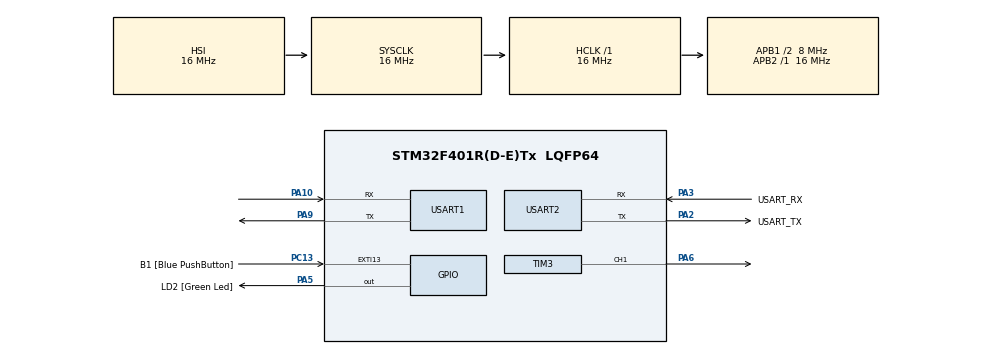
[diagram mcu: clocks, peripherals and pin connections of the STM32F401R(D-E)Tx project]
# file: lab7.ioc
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Mcu.Family=STM32F4
Mcu.Name=STM32F401R(D-E)Tx
Mcu.Package=LQFP64
NVIC.PriorityGroup=NVIC_PRIORITYGROUP_0
NVIC.TIM3_IRQn=true\:0\:0\:false\:false\:true\:true
NVIC.USART1_IRQn=true\:0\:0\:false\:false\:true\:true
NVIC.USART2_IRQn=true\:0\:0\:false\:false\:true\:true
PA10.Mode=Asynchronous
PA10.Signal=USART1_RX
PA13.GPIO_Label=TMS
PA13.Mode=Serial_Wire
PA13.Signal=SYS_JTMS-SWDIO
PA14.GPIO_Label=TCK
PA14.Mode=Serial_Wire
PA14.Signal=SYS_JTCK-SWCLK
PA2.GPIO_Label=USART_TX
PA2.GPIO_Mode=GPIO_MODE_AF_PP
PA2.GPIO_PuPd=GPIO_NOPULL
PA2.GPIO_Speed=GPIO_SPEED_FREQ_LOW
PA2.Mode=Asynchronous
PA2.Signal=USART2_TX
PA3.GPIO_Label=USART_RX
PA3.GPIO_Mode=GPIO_MODE_AF_PP
PA3.GPIO_PuPd=GPIO_NOPULL
PA3.GPIO_Speed=GPIO_SPEED_FREQ_LOW
PA3.Mode=Asynchronous
PA3.Signal=USART2_RX
PA5.GPIO_Label=LD2 [Green Led]
PA5.GPIO_Mode=GPIO_MODE_OUTPUT_PP
PA5.GPIO_PuPd=GPIO_NOPULL
PA5.GPIO_Speed=GPIO_SPEED_FREQ_LOW
PA5.Signal=GPIO_Output
PA6.Signal=S_TIM3_CH1
PA9.Mode=Asynchronous
PA9.Signal=USART1_TX
PB3.GPIO_Label=SWO
PB3.Signal=SYS_JTDO-SWO
PC13-ANTI_TAMP.GPIO_Label=B1 [Blue PushButton]
PC13-ANTI_TAMP.GPIO_ModeDefaultEXTI=GPIO_MODE_IT_FALLING
PC13-ANTI_TAMP.GPIO_PuPd=GPIO_NOPULL
PC13-ANTI_TAMP.Signal=GPXTI13
PC14-OSC32_IN.Mode=LSE-External-Oscillator
PC14-OSC32_IN.Signal=RCC_OSC32_IN
PC15-OSC32_OUT.Mode=LSE-External-Oscillator
PC15-OSC32_OUT.Signal=RCC_OSC32_OUT
PH0\ -\ OSC_IN.Mode=HSE-External-Clock-Source
PH0\ -\ OSC_IN.Signal=RCC_OSC_IN
PH1\ -\ OSC_OUT.Mode=HSE-External-Clock-Source
PH1\ -\ OSC_OUT.Signal=RCC_OSC_OUT
ProjectManager.HeapSize=0x200
ProjectManager.StackSize=0x400
ProjectManager.TargetToolchain=SW4STM32
RCC.48MHZClocksFreq_Value=48000000
RCC.AHBFreq_Value=16000000
RCC.APB1CLKDivider=RCC_HCLK_DIV2
RCC.APB1Freq_Value=8000000
RCC.APB1TimFreq_Value=16000000
RCC.APB2Freq_Value=16000000
RCC.APB2TimFreq_Value=16000000
RCC.CortexFreq_Value=16000000
RCC.HCLKFreq_Value=16000000
RCC.HSE_VALUE=8000000
RCC.HSI_VALUE=16000000
RCC.PLLN=336
RCC.PLLP=RCC_PLLP_DIV4
RCC.PLLQ=7
RCC.SYSCLKFreq_VALUE=16000000
RCC.VCOOutputFreq_Value=336000000
SH.S_TIM3_CH1.0=TIM3_CH1,Output Compare1 CH1
TIM3.Channel-Output\ Compare1\ CH1=TIM_CHANNEL_1
TIM3.Period=1000
TIM3.Prescaler=15999
USART1.VirtualMode=VM_ASYNC
USART2.VirtualMode=VM_ASYNC
VP_TIM3_VS_ClockSourceINT.Mode=Internal
board=NUCLEO-F401RE

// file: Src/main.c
/* USER CODE BEGIN Header */
/**
  ******************************************************************************
  * @file           : main.c
  * @brief          : Main program body
  ******************************************************************************
  ** This notice applies to any and all portions of this file
  * that are not between comment pairs USER CODE BEGIN and
  * USER CODE END. Other portions of this file, whether
  * inserted by the user or by software development tools
  * are owned by their respective copyright owners.
  *
  * COPYRIGHT(c) 2019 STMicroelectronics
  *
  * Redistribution and use in source and binary forms, with or without modification,
  * are permitted provided that the following conditions are met:
  *   1. Redistributions of source code must retain the above copyright notice,
  *      this list of conditions and the following disclaimer.
  *   2. Redistributions in binary form must reproduce the above copyright notice,
  *      this list of conditions and the following disclaimer in the documentation
  *      and/or other materials provided with the distribution.
  *   3. Neither the name of STMicroelectronics nor the names of its contributors
  *      may be used to endorse or promote products derived from this software
  *      without specific prior written permission.
  *
  * THIS SOFTWARE IS PROVIDED BY THE COPYRIGHT HOLDERS AND CONTRIBUTORS "AS IS"
  * AND ANY EXPRESS OR IMPLIED WARRANTIES, INCLUDING, BUT NOT LIMITED TO, THE
  * IMPLIED WARRANTIES OF MERCHANTABILITY AND FITNESS FOR A PARTICULAR PURPOSE ARE
  * DISCLAIMED. IN NO EVENT SHALL THE COPYRIGHT HOLDER OR CONTRIBUTORS BE LIABLE
  * FOR ANY DIRECT, INDIRECT, INCIDENTAL, SPECIAL, EXEMPLARY, OR CONSEQUENTIAL
  * DAMAGES (INCLUDING, BUT NOT LIMITED TO, PROCUREMENT OF SUBSTITUTE GOODS OR
  * SERVICES; LOSS OF USE, DATA, OR PROFITS; OR BUSINESS INTERRUPTION) HOWEVER
  * CAUSED AND ON ANY THEORY OF LIABILITY, WHETHER IN CONTRACT, STRICT LIABILITY,
  * OR TORT (INCLUDING NEGLIGENCE OR OTHERWISE) ARISING IN ANY WAY OUT OF THE USE
  * OF THIS SOFTWARE, EVEN IF ADVISED OF THE POSSIBILITY OF SUCH DAMAGE.
  *
  ******************************************************************************
  */
/* USER CODE END Header */

#include "main.h"
/* USER CODE BEGIN Includes */
#include "tim3_interrupt.h"
/* USER CODE END Includes */

TIM_HandleTypeDef htim3;

UART_HandleTypeDef huart1;
UART_HandleTypeDef huart2;

void SystemClock_Config(void);
static void MX_GPIO_Init(void);
static void MX_USART2_UART_Init(void);
static void MX_TIM3_Init(void);
static void MX_USART1_UART_Init(void);

int main(void)
{

  /* MCU Configuration--------------------------------------------------------*/

  /* Reset of all peripherals, Initializes the Flash interface and the Systick. */
  HAL_Init();

  /* Configure the system clock */
  SystemClock_Config();

  /* Initialize all configured peripherals */
  MX_GPIO_Init();
  MX_USART2_UART_Init();
  MX_TIM3_Init();
  MX_USART1_UART_Init();
  /* USER CODE BEGIN 2 */
  HAL_TIM_Base_Start_IT(&htim3);
  HAL_TIM_OC_Start_IT(&htim3,TIM_CHANNEL_1);
  uint8_t command[3];
  uint8_t buffer[6];
  int valore1,valore2,diff;
  /* USER CODE END 2 */

  /* Infinite loop */
  /* USER CODE BEGIN WHILE */
  while (1)
  {
	  __HAL_TIM_DISABLE_IT(&htim3, TIM_IT_CC1);// disabilito generazione di interrupt del contatore
	  HAL_UART_Receive(&huart1, command, sizeof(command), HAL_MAX_DELAY);//ricevo comando tramite UART
	  tim3_overflow=0;// reset contatore overflow
	  tim3_flag_overflow=0;// reset flag overflow
	  int control=command[2]-'0'; // char to int
	  if (command[0]=='L' && command[1]==' ' && (control==0 || control==1)) {// controllo ricezione comando valido
		  if ( HAL_GPIO_ReadPin(LD2_GPIO_Port, LD2_Pin) != control) {
			  HAL_GPIO_WritePin(LD2_GPIO_Port, LD2_Pin, control);// accendo o spengo LED2
			  valore1=__HAL_TIM_GET_COUNTER(&htim3);//salvo valore TCNT all'accensione o spegnimento del LED2
			  __HAL_TIM_CLEAR_IT(&htim3, TIM_IT_CC1);//reset flag output compare
			  __HAL_TIM_SET_COMPARE(&htim3, TIM_IT_CC1,(valore1+65535));//setto valore output compare
			  __HAL_TIM_ENABLE_IT(&htim3, TIM_IT_CC1);// abilito interrupt contatore
	 		  while(HAL_GPIO_ReadPin(GPIOC, GPIO_PIN_13)==GPIO_PIN_SET && tim3_flag_overflow==0);//polling pressione su USER BUTTON
	 		  if (tim3_flag_overflow==0) {// controllo presenza overflow attesa
				  valore2=__HAL_TIM_GET_COUNTER(&htim3);//salvo valore TCNT alla pressione del bottone
				  diff=valore2-valore1+tim3_overflow*65535;// calcolo del tempo in presenza di overflow del contatore
			  	  sprintf(buffer,"T%04x",diff);
				  HAL_UART_Transmit(&huart1, buffer, 5, HAL_MAX_DELAY);//trasmetto tempo di riflesso in esadecimale
			  }
	 		  else
	 			  HAL_UART_Transmit(&huart1, "Tffff", 5,HAL_MAX_DELAY);//trasmetto tempo massimo, esaurito il tempo utile per premere il bottone
		  }
	  }

    /* USER CODE END WHILE */

  }
}

void SystemClock_Config(void)
{
  RCC_OscInitTypeDef RCC_OscInitStruct = {0};
  RCC_ClkInitTypeDef RCC_ClkInitStruct = {0};

  /**Configure the main internal regulator output voltage
  */
  __HAL_RCC_PWR_CLK_ENABLE();
  __HAL_PWR_VOLTAGESCALING_CONFIG(PWR_REGULATOR_VOLTAGE_SCALE2);
  /**Initializes the CPU, AHB and APB busses clocks
  */
  RCC_OscInitStruct.OscillatorType = RCC_OSCILLATORTYPE_HSI;
  RCC_OscInitStruct.HSIState = RCC_HSI_ON;
  RCC_OscInitStruct.HSICalibrationValue = RCC_HSICALIBRATION_DEFAULT;
  RCC_OscInitStruct.PLL.PLLState = RCC_PLL_NONE;
  if (HAL_RCC_OscConfig(&RCC_OscInitStruct) != HAL_OK)
  {
    Error_Handler();
  }
  /**Initializes the CPU, AHB and APB busses clocks
  */
  RCC_ClkInitStruct.ClockType = RCC_CLOCKTYPE_HCLK|RCC_CLOCKTYPE_SYSCLK
                              |RCC_CLOCKTYPE_PCLK1|RCC_CLOCKTYPE_PCLK2;
  RCC_ClkInitStruct.SYSCLKSource = RCC_SYSCLKSOURCE_HSI;
  RCC_ClkInitStruct.AHBCLKDivider = RCC_SYSCLK_DIV1;
  RCC_ClkInitStruct.APB1CLKDivider = RCC_HCLK_DIV2;
  RCC_ClkInitStruct.APB2CLKDivider = RCC_HCLK_DIV1;

  if (HAL_RCC_ClockConfig(&RCC_ClkInitStruct, FLASH_LATENCY_0) != HAL_OK)
  {
    Error_Handler();
  }
}

static void MX_TIM3_Init(void)
{

  TIM_ClockConfigTypeDef sClockSourceConfig = {0};
  TIM_MasterConfigTypeDef sMasterConfig = {0};
  TIM_OC_InitTypeDef sConfigOC = {0};

  htim3.Instance = TIM3;
  htim3.Init.Prescaler = 15999;
  htim3.Init.CounterMode = TIM_COUNTERMODE_UP;
  htim3.Init.Period = 65535;
  htim3.Init.ClockDivision = TIM_CLOCKDIVISION_DIV1;
  if (HAL_TIM_Base_Init(&htim3) != HAL_OK)
  {
    Error_Handler();
  }
  sClockSourceConfig.ClockSource = TIM_CLOCKSOURCE_INTERNAL;
  if (HAL_TIM_ConfigClockSource(&htim3, &sClockSourceConfig) != HAL_OK)
  {
    Error_Handler();
  }
  if (HAL_TIM_OC_Init(&htim3) != HAL_OK)
  {
    Error_Handler();
  }
  sMasterConfig.MasterOutputTrigger = TIM_TRGO_RESET;
  sMasterConfig.MasterSlaveMode = TIM_MASTERSLAVEMODE_DISABLE;
  if (HAL_TIMEx_MasterConfigSynchronization(&htim3, &sMasterConfig) != HAL_OK)
  {
    Error_Handler();
  }
  sConfigOC.OCMode = TIM_OCMODE_TIMING;
  sConfigOC.Pulse = 0;
  sConfigOC.OCPolarity = TIM_OCPOLARITY_HIGH;
  sConfigOC.OCFastMode = TIM_OCFAST_DISABLE;
  if (HAL_TIM_OC_ConfigChannel(&htim3, &sConfigOC, TIM_CHANNEL_1) != HAL_OK)
  {
    Error_Handler();
  }
  HAL_TIM_MspPostInit(&htim3);

}

static void MX_USART1_UART_Init(void)
{

  huart1.Instance = USART1;
  huart1.Init.BaudRate = 115200;
  huart1.Init.WordLength = UART_WORDLENGTH_8B;
  huart1.Init.StopBits = UART_STOPBITS_1;
  huart1.Init.Parity = UART_PARITY_NONE;
  huart1.Init.Mode = UART_MODE_TX_RX;
  huart1.Init.HwFlowCtl = UART_HWCONTROL_NONE;
  huart1.Init.OverSampling = UART_OVERSAMPLING_16;
  if (HAL_UART_Init(&huart1) != HAL_OK)
  {
    Error_Handler();
  }

}

static void MX_USART2_UART_Init(void)
{

  huart2.Instance = USART2;
  huart2.Init.BaudRate = 115200;
  huart2.Init.WordLength = UART_WORDLENGTH_8B;
  huart2.Init.StopBits = UART_STOPBITS_1;
  huart2.Init.Parity = UART_PARITY_NONE;
  huart2.Init.Mode = UART_MODE_TX_RX;
  huart2.Init.HwFlowCtl = UART_HWCONTROL_NONE;
  huart2.Init.OverSampling = UART_OVERSAMPLING_16;
  if (HAL_UART_Init(&huart2) != HAL_OK)
  {
    Error_Handler();
  }

}

static void MX_GPIO_Init(void)
{
  GPIO_InitTypeDef GPIO_InitStruct = {0};

  /* GPIO Ports Clock Enable */
  __HAL_RCC_GPIOC_CLK_ENABLE();
  __HAL_RCC_GPIOH_CLK_ENABLE();
  __HAL_RCC_GPIOA_CLK_ENABLE();
  __HAL_RCC_GPIOB_CLK_ENABLE();

  /*Configure GPIO pin Output Level */
  HAL_GPIO_WritePin(LD2_GPIO_Port, LD2_Pin, GPIO_PIN_RESET);

  /*Configure GPIO pin : B1_Pin */
  GPIO_InitStruct.Pin = B1_Pin;
  GPIO_InitStruct.Mode = GPIO_MODE_IT_FALLING;
  GPIO_InitStruct.Pull = GPIO_NOPULL;
  HAL_GPIO_Init(B1_GPIO_Port, &GPIO_InitStruct);

  /*Configure GPIO pin : LD2_Pin */
  GPIO_InitStruct.Pin = LD2_Pin;
  GPIO_InitStruct.Mode = GPIO_MODE_OUTPUT_PP;
  GPIO_InitStruct.Pull = GPIO_NOPULL;
  GPIO_InitStruct.Speed = GPIO_SPEED_FREQ_LOW;
  HAL_GPIO_Init(LD2_GPIO_Port, &GPIO_InitStruct);

}

void Error_Handler(void)
{
}

/************************ (C) COPYRIGHT STMicroelectronics *****END OF FILE****/
